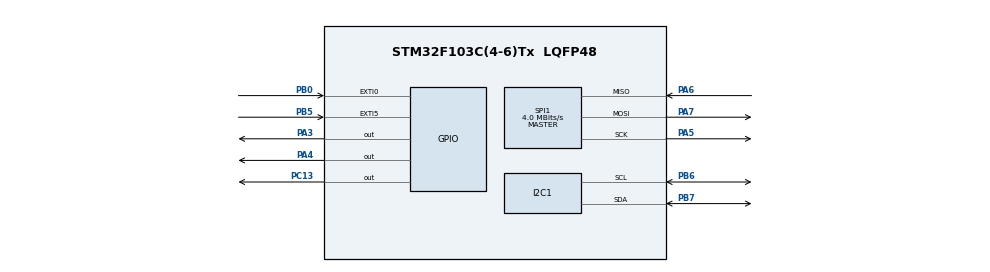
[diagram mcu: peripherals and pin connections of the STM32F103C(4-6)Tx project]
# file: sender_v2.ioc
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I2C1.OwnAddress=0
Mcu.Family=STM32F1
Mcu.Name=STM32F103C(4-6)Tx
Mcu.Package=LQFP48
NVIC.EXTI0_IRQn=true\:0\:0\:false\:false\:true\:true\:true\:true
NVIC.EXTI9_5_IRQn=true\:0\:0\:false\:false\:true\:true\:true\:true
NVIC.PriorityGroup=NVIC_PRIORITYGROUP_4
PA3.Signal=GPIO_Output
PA4.Signal=GPIO_Output
PA5.Mode=Full_Duplex_Master
PA5.Signal=SPI1_SCK
PA6.Mode=Full_Duplex_Master
PA6.Signal=SPI1_MISO
PA7.Mode=Full_Duplex_Master
PA7.Signal=SPI1_MOSI
PB0.GPIO_PuPd=GPIO_PULLUP
PB0.Signal=GPXTI0
PB5.GPIO_PuPd=GPIO_PULLUP
PB5.Signal=GPXTI5
PB6.Mode=I2C
PB6.Signal=I2C1_SCL
PB7.Mode=I2C
PB7.Signal=I2C1_SDA
PC13-TAMPER-RTC.Signal=GPIO_Output
ProjectManager.HeapSize=0x200
ProjectManager.StackSize=0x400
ProjectManager.TargetToolchain=STM32CubeIDE
RCC.APB1Freq_Value=8000000
RCC.APB2Freq_Value=8000000
SPI1.CalculateBaudRate=4.0 MBits/s
SPI1.Direction=SPI_DIRECTION_2LINES
SPI1.Mode=SPI_MODE_MASTER
SPI1.VirtualType=VM_MASTER
VP_SYS_VS_ND.Mode=No_Debug
board=custom

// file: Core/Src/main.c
/* USER CODE BEGIN Header */
/**
  ******************************************************************************
  * @file           : main.c
  * @brief          : Main program body
  ******************************************************************************
  * @attention
  *
  * Copyright (c) 2025 STMicroelectronics.
  * All rights reserved.
  *
  * This software is licensed under terms that can be found in the LICENSE file
  * in the root directory of this software component.
  * If no LICENSE file comes with this software, it is provided AS-IS.
  *
  ******************************************************************************
  */
/* USER CODE END Header */
#include "main.h"

/* USER CODE BEGIN Includes */
#include <stdbool.h>
#include <stdint.h>
/* USER CODE END Includes */

/* USER CODE BEGIN PD */
#define MPR121_ADDR_7B							0x5A
#define MPR121_ADDR 								(MPR121_ADDR_7B << 1)

#define MPR121_REG_TOUCH_STATUS_L 	0x00
#define MPR121_REG_ECR 							0x5E
#define MPR121_REG_DEBOUNCE					0x5B
#define MPR121_REG_ELE0_T						0x41 // ELE0_R=0x42, ELE1_T=0x43, ...

#define MPR121_TOUCH_THR_DEFAULT 		0x0F // TODO: fine-tune
#define MPR121_RELEASE_THR_DEFAULT 	0x0A // TODO: fine-tune

volatile uint8_t g_mpr_irq_pending = 0;
volatile uint16_t g_touched_mask;
/* USER CODE END PD */

I2C_HandleTypeDef hi2c1;

SPI_HandleTypeDef hspi1;

void SystemClock_Config(void);
static void MX_GPIO_Init(void);
static void MX_I2C1_Init(void);
static void MX_SPI1_Init(void);
/* USER CODE BEGIN PFP */
static HAL_StatusTypeDef MPR121_Write8(uint8_t reg, uint8_t val);
static HAL_StatusTypeDef MPR121_ReadN(uint8_t reg, uint8_t *buf, uint16_t n);
static uint16_t MPR121_ReadTouchedMask(void);
static bool MPR121_Init(void);
/* USER CODE END PFP */

/* USER CODE BEGIN 0 */
// Write a value to a register on the MPR121 board
static HAL_StatusTypeDef MPR121_Write8(uint8_t reg, uint8_t val) {
	return HAL_I2C_Mem_Write(&hi2c1, MPR121_ADDR, reg, I2C_MEMADD_SIZE_8BIT, &val, 1, 50);
}

// Read a register on MPR121 board
static HAL_StatusTypeDef MPR121_ReadN(uint8_t reg, uint8_t *buf, uint16_t n) {
	return HAL_I2C_Mem_Read(&hi2c1, MPR121_ADDR, reg, I2C_MEMADD_SIZE_8BIT, buf, n, 50);
}

// Read 0x00-0x01: also clears MPR121 IRQ line
static uint16_t MPR121_ReadTouchedMask(void) {
	uint8_t s[2] = {0};
	if (MPR121_ReadN(MPR121_REG_TOUCH_STATUS_L, s, 2) != HAL_OK) {
		return 0;
	}
	return (uint16_t) s[0] | ((uint16_t) s[1] << 8);
}

// Configure thresholds and start sensing
static bool MPR121_Init(void) {
	// Stop mode while configuring
	if (MPR121_Write8(MPR121_REG_ECR, 0x00) != HAL_OK) {return false;}

	// Touch configurations for ELE0 through ELE11
	for (uint8_t ele = 0; ele < 12; ele++) {
		// T_REG offset for this ELE pad
		uint8_t treg = MPR121_REG_ELE0_T + ele * 2;

		// Set touch activation threshold
		if (MPR121_Write8(treg, MPR121_TOUCH_THR_DEFAULT) != HAL_OK) {return false;}

		// Set touch release threshold
		if (MPR121_Write8(treg + 1, MPR121_RELEASE_THR_DEFAULT) != HAL_OK) {return false;}
	}

	// Set debounce
	if (MPR121_Write8(MPR121_REG_DEBOUNCE, 0x11) != HAL_OK) {return false;}

	// Set run mode
	if (MPR121_Write8(MPR121_REG_ECR, 0x8C) != HAL_OK) {return false;}

	return true;
}
/* USER CODE END 0 */

int main(void)
{

  /* MCU Configuration--------------------------------------------------------*/

  /* Reset of all peripherals, Initializes the Flash interface and the Systick. */
  HAL_Init();

  /* Configure the system clock */
  SystemClock_Config();

  /* Initialize all configured peripherals */
  MX_GPIO_Init();
  MX_I2C1_Init();
  MX_SPI1_Init();
  /* USER CODE BEGIN 2 */
  if (!MPR121_Init()) {
		uint8_t found = 0;
		for (uint8_t addr = 1; addr <= 128; addr++) {
			if (HAL_I2C_IsDeviceReady(&hi2c1, (addr << 1), 3, 100) == HAL_OK) {
				found = addr;
			}
		}

		// Rapid blink on MPR121 init failure
		while (1 && found == 0) {
			HAL_GPIO_TogglePin(GPIOC, GPIO_PIN_13);
			HAL_Delay(100);
		}
	}
  /* USER CODE END 2 */

  /* Infinite loop */
  while (1)
  {

    /* USER CODE BEGIN 3 */
  	if (g_mpr_irq_pending) {
			g_mpr_irq_pending = 0;
			uint16_t mask = MPR121_ReadTouchedMask();
			g_touched_mask = mask;

			// Light the LED while any electrode is touched
			HAL_GPIO_WritePin(GPIOC, GPIO_PIN_13, (mask ? GPIO_PIN_RESET: GPIO_PIN_SET));
		}
//  	HAL_Delay(5);
  }
  /* USER CODE END 3 */
}

void SystemClock_Config(void)
{
  RCC_OscInitTypeDef RCC_OscInitStruct = {0};
  RCC_ClkInitTypeDef RCC_ClkInitStruct = {0};

  /** Initializes the RCC Oscillators according to the specified parameters
  * in the RCC_OscInitTypeDef structure.
  */
  RCC_OscInitStruct.OscillatorType = RCC_OSCILLATORTYPE_HSI;
  RCC_OscInitStruct.HSIState = RCC_HSI_ON;
  RCC_OscInitStruct.HSICalibrationValue = RCC_HSICALIBRATION_DEFAULT;
  RCC_OscInitStruct.PLL.PLLState = RCC_PLL_NONE;
  if (HAL_RCC_OscConfig(&RCC_OscInitStruct) != HAL_OK)
  {
    Error_Handler();
  }

  /** Initializes the CPU, AHB and APB buses clocks
  */
  RCC_ClkInitStruct.ClockType = RCC_CLOCKTYPE_HCLK|RCC_CLOCKTYPE_SYSCLK
                              |RCC_CLOCKTYPE_PCLK1|RCC_CLOCKTYPE_PCLK2;
  RCC_ClkInitStruct.SYSCLKSource = RCC_SYSCLKSOURCE_HSI;
  RCC_ClkInitStruct.AHBCLKDivider = RCC_SYSCLK_DIV1;
  RCC_ClkInitStruct.APB1CLKDivider = RCC_HCLK_DIV1;
  RCC_ClkInitStruct.APB2CLKDivider = RCC_HCLK_DIV1;

  if (HAL_RCC_ClockConfig(&RCC_ClkInitStruct, FLASH_LATENCY_0) != HAL_OK)
  {
    Error_Handler();
  }
}

static void MX_I2C1_Init(void)
{

  hi2c1.Instance = I2C1;
  hi2c1.Init.ClockSpeed = 100000;
  hi2c1.Init.DutyCycle = I2C_DUTYCYCLE_2;
  hi2c1.Init.OwnAddress1 = 0;
  hi2c1.Init.AddressingMode = I2C_ADDRESSINGMODE_7BIT;
  hi2c1.Init.DualAddressMode = I2C_DUALADDRESS_DISABLE;
  hi2c1.Init.OwnAddress2 = 0;
  hi2c1.Init.GeneralCallMode = I2C_GENERALCALL_DISABLE;
  hi2c1.Init.NoStretchMode = I2C_NOSTRETCH_DISABLE;
  if (HAL_I2C_Init(&hi2c1) != HAL_OK)
  {
    Error_Handler();
  }

}

static void MX_SPI1_Init(void)
{

  /* SPI1 parameter configuration*/
  hspi1.Instance = SPI1;
  hspi1.Init.Mode = SPI_MODE_MASTER;
  hspi1.Init.Direction = SPI_DIRECTION_2LINES;
  hspi1.Init.DataSize = SPI_DATASIZE_8BIT;
  hspi1.Init.CLKPolarity = SPI_POLARITY_LOW;
  hspi1.Init.CLKPhase = SPI_PHASE_1EDGE;
  hspi1.Init.NSS = SPI_NSS_SOFT;
  hspi1.Init.BaudRatePrescaler = SPI_BAUDRATEPRESCALER_2;
  hspi1.Init.FirstBit = SPI_FIRSTBIT_MSB;
  hspi1.Init.TIMode = SPI_TIMODE_DISABLE;
  hspi1.Init.CRCCalculation = SPI_CRCCALCULATION_DISABLE;
  hspi1.Init.CRCPolynomial = 10;
  if (HAL_SPI_Init(&hspi1) != HAL_OK)
  {
    Error_Handler();
  }

}

static void MX_GPIO_Init(void)
{
  GPIO_InitTypeDef GPIO_InitStruct = {0};

  /* GPIO Ports Clock Enable */
  __HAL_RCC_GPIOC_CLK_ENABLE();
  __HAL_RCC_GPIOA_CLK_ENABLE();
  __HAL_RCC_GPIOB_CLK_ENABLE();

  /*Configure GPIO pin Output Level */
  HAL_GPIO_WritePin(GPIOC, GPIO_PIN_13, GPIO_PIN_RESET);

  /*Configure GPIO pin Output Level */
  HAL_GPIO_WritePin(GPIOA, GPIO_PIN_3|GPIO_PIN_4, GPIO_PIN_RESET);

  /*Configure GPIO pin : PC13 */
  GPIO_InitStruct.Pin = GPIO_PIN_13;
  GPIO_InitStruct.Mode = GPIO_MODE_OUTPUT_PP;
  GPIO_InitStruct.Pull = GPIO_NOPULL;
  GPIO_InitStruct.Speed = GPIO_SPEED_FREQ_LOW;
  HAL_GPIO_Init(GPIOC, &GPIO_InitStruct);

  /*Configure GPIO pins : PA3 PA4 */
  GPIO_InitStruct.Pin = GPIO_PIN_3|GPIO_PIN_4;
  GPIO_InitStruct.Mode = GPIO_MODE_OUTPUT_PP;
  GPIO_InitStruct.Pull = GPIO_NOPULL;
  GPIO_InitStruct.Speed = GPIO_SPEED_FREQ_LOW;
  HAL_GPIO_Init(GPIOA, &GPIO_InitStruct);

  /*Configure GPIO pins : PB0 PB5 */
  GPIO_InitStruct.Pin = GPIO_PIN_0|GPIO_PIN_5;
  GPIO_InitStruct.Mode = GPIO_MODE_IT_RISING;
  GPIO_InitStruct.Pull = GPIO_PULLUP;
  HAL_GPIO_Init(GPIOB, &GPIO_InitStruct);

  /* EXTI interrupt init*/
  HAL_NVIC_SetPriority(EXTI0_IRQn, 0, 0);
  HAL_NVIC_EnableIRQ(EXTI0_IRQn);

  HAL_NVIC_SetPriority(EXTI9_5_IRQn, 0, 0);
  HAL_NVIC_EnableIRQ(EXTI9_5_IRQn);

}

void Error_Handler(void)
{
  __disable_irq();
  while (1)
  {
  }
}
